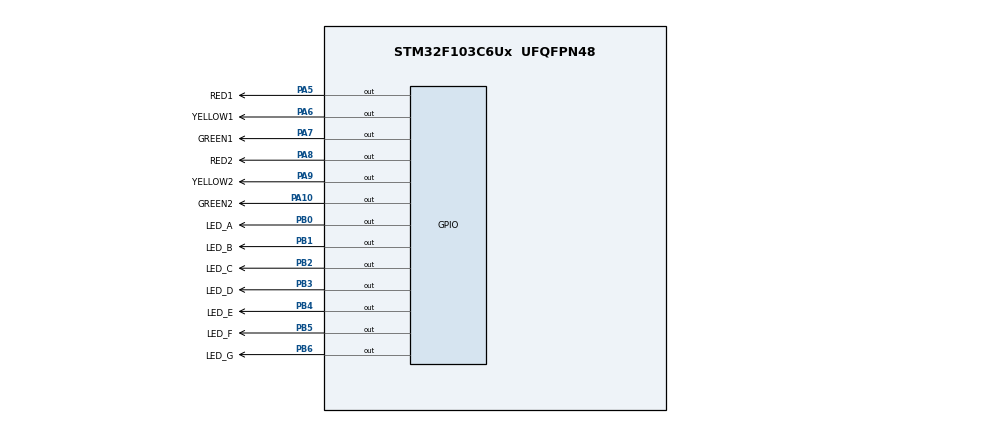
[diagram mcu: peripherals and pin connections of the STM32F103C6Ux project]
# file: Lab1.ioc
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Mcu.Family=STM32F1
Mcu.Name=STM32F103C6Ux
Mcu.Package=UFQFPN48
NVIC.PriorityGroup=NVIC_PRIORITYGROUP_4
PA10.GPIO_Label=GREEN2
PA10.Signal=GPIO_Output
PA5.GPIO_Label=RED1
PA5.Signal=GPIO_Output
PA6.GPIO_Label=YELLOW1
PA6.Signal=GPIO_Output
PA7.GPIO_Label=GREEN1
PA7.Signal=GPIO_Output
PA8.GPIO_Label=RED2
PA8.Signal=GPIO_Output
PA9.GPIO_Label=YELLOW2
PA9.Signal=GPIO_Output
PB0.GPIO_Label=LED_A
PB0.Signal=GPIO_Output
PB1.GPIO_Label=LED_B
PB1.Signal=GPIO_Output
PB2.GPIO_Label=LED_C
PB2.Signal=GPIO_Output
PB3.GPIO_Label=LED_D
PB3.Signal=GPIO_Output
PB4.GPIO_Label=LED_E
PB4.Signal=GPIO_Output
PB5.GPIO_Label=LED_F
PB5.Signal=GPIO_Output
PB6.GPIO_Label=LED_G
PB6.Signal=GPIO_Output
ProjectManager.HeapSize=0x200
ProjectManager.StackSize=0x400
ProjectManager.TargetToolchain=STM32CubeIDE
RCC.APB1Freq_Value=8000000
RCC.APB2Freq_Value=8000000
VP_SYS_VS_ND.Mode=No_Debug
board=custom

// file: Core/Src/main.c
/* USER CODE BEGIN Header */
/**
  ******************************************************************************
  * @file           : main.c
  * @brief          : Main program body
  ******************************************************************************
  * @attention
  *
  * <h2><center>&copy; Copyright (c) 2025 STMicroelectronics.
  * All rights reserved.</center></h2>
  *
  * This software component is licensed by ST under BSD 3-Clause license,
  * the "License"; You may not use this file except in compliance with the
  * License. You may obtain a copy of the License at:
  *                        opensource.org/licenses/BSD-3-Clause
  *
  ******************************************************************************
  */
/* USER CODE END Header */
#include "main.h"

/* USER CODE BEGIN PD */
//define ON/OFF
#define ON 			1
#define OFF 		0

//define states
#define RED 		1
#define GREEN		2
#define YELLOW 		3

#define INIT 0
#define RED_GREEN 	1
#define RED_YELLOW 	2
#define GREEN_RED 	3
#define YELLOW_RED  4
/* USER CODE END PD */

void SystemClock_Config(void);
static void MX_GPIO_Init(void);

/* USER CODE BEGIN 0 */
void control_red1(uint8_t state);
void control_yellow1(uint8_t state);
void control_green1(uint8_t state);
void control_red2(uint8_t state);
void control_yellow2(uint8_t state);
void control_green2(uint8_t state);

void _display7SEG(int num);
void display7SEG(int num);
const uint8_t seg_table[10] = {
    0b1000000, // 0
    0b1111001, // 1
    0b0100100, // 2
    0b0110000, // 3
    0b0011001, // 4
    0b0010010, // 5
    0b0000010, // 6
    0b1111000, // 7
    0b0000000, // 8
    0b0010000  // 9
};
/* USER CODE END 0 */

int main(void)
{

  /* MCU Configuration--------------------------------------------------------*/

  /* Reset of all peripherals, Initializes the Flash interface and the Systick. */
  HAL_Init();

  /* Configure the system clock */
  SystemClock_Config();

  /* Initialize all configured peripherals */
  MX_GPIO_Init();

  /* Infinite loop */
  /* USER CODE BEGIN WHILE */
  uint8_t 	state 	= INIT;
  uint8_t 	state2  = 1;
  uint32_t 	counter = 0;
  uint32_t 	tick	= 0;
  while (1)
  {
	  switch (state) {

		  case RED_GREEN:
			  control_red1(ON);  control_yellow1(OFF); control_green1(OFF);
			  control_red2(OFF); control_yellow2(OFF); control_green2(ON);

			  if (counter >= 300) {  // redRED1(3s), greenYELLOW1(3s)
				  state = RED_YELLOW;
				  counter = 0;
			  }
			  break;

		  case RED_YELLOW:
			  control_red1(ON);  control_yellow1(OFF); control_green1(OFF);
			  control_red2(OFF); control_yellow2(ON);  control_green2(OFF);

			  if (counter >= 200) {  // redRED1(2s), yellowYELLOW1(2s)
				  state = GREEN_RED;
				  counter = 0;
			  }
			  break;

		  case GREEN_RED:
			  control_red1(OFF);  control_yellow1(OFF); control_green1(ON);
			  control_red2(ON);   control_yellow2(OFF); control_green2(OFF);

			  if (counter >= 300) {  // greenRED1(3s), redYELLOW1(3s)
				  state = YELLOW_RED;
				  counter = 0;
			  }
			  break;

		  case YELLOW_RED:
			  control_red1(OFF);  control_yellow1(ON);  control_green1(OFF);
			  control_red2(ON);   control_yellow2(OFF); control_green2(OFF);

			  if (counter >= 200) {  // yellowRED1(2s), redYELLOW1(3s)
				  state = RED_GREEN;
				  counter = 0;
			  }
			  break;
		  default:
			  state = RED_GREEN;
			  counter = 0;
			  break;
	  }
	  ++counter;

	  switch (state2) {

	  	  case RED:
	  		  display7SEG(5 - tick/100 % 5); // print 5->1
	  		  if (tick >= 500) {
	  			  state2 = GREEN;
	  			  tick = 0;
	  		  }
	  		  break;

	  	  case GREEN:
			  display7SEG(3 - tick/100 % 3); // print 3->1
			  if (tick >= 300) {
				  state2 = YELLOW;
				  tick = 0;
			  }
			  break;

	  	  case YELLOW:
			  display7SEG(2 - tick/100 % 2); // print 2->1
			  if (tick >= 200) {
				  state2 = RED;
				  tick = 0;
			  }
			  break;
	  	  default:
	  		  break;
	  }
	  ++tick;

	  HAL_Delay(10) ;
    /* USER CODE END WHILE */

  }
}

void SystemClock_Config(void)
{
  RCC_OscInitTypeDef RCC_OscInitStruct = {0};
  RCC_ClkInitTypeDef RCC_ClkInitStruct = {0};

  /** Initializes the RCC Oscillators according to the specified parameters
  * in the RCC_OscInitTypeDef structure.
  */
  RCC_OscInitStruct.OscillatorType = RCC_OSCILLATORTYPE_HSI;
  RCC_OscInitStruct.HSIState = RCC_HSI_ON;
  RCC_OscInitStruct.HSICalibrationValue = RCC_HSICALIBRATION_DEFAULT;
  RCC_OscInitStruct.PLL.PLLState = RCC_PLL_NONE;
  if (HAL_RCC_OscConfig(&RCC_OscInitStruct) != HAL_OK)
  {
    Error_Handler();
  }
  /** Initializes the CPU, AHB and APB buses clocks
  */
  RCC_ClkInitStruct.ClockType = RCC_CLOCKTYPE_HCLK|RCC_CLOCKTYPE_SYSCLK
                              |RCC_CLOCKTYPE_PCLK1|RCC_CLOCKTYPE_PCLK2;
  RCC_ClkInitStruct.SYSCLKSource = RCC_SYSCLKSOURCE_HSI;
  RCC_ClkInitStruct.AHBCLKDivider = RCC_SYSCLK_DIV1;
  RCC_ClkInitStruct.APB1CLKDivider = RCC_HCLK_DIV1;
  RCC_ClkInitStruct.APB2CLKDivider = RCC_HCLK_DIV1;

  if (HAL_RCC_ClockConfig(&RCC_ClkInitStruct, FLASH_LATENCY_0) != HAL_OK)
  {
    Error_Handler();
  }
}

static void MX_GPIO_Init(void)
{
  GPIO_InitTypeDef GPIO_InitStruct = {0};

  /* GPIO Ports Clock Enable */
  __HAL_RCC_GPIOA_CLK_ENABLE();
  __HAL_RCC_GPIOB_CLK_ENABLE();

  /*Configure GPIO pin Output Level */
  HAL_GPIO_WritePin(GPIOA, RED1_Pin|YELLOW1_Pin|GREEN1_Pin|RED2_Pin
                          |YELLOW2_Pin|GREEN2_Pin, GPIO_PIN_RESET);

  /*Configure GPIO pin Output Level */
  HAL_GPIO_WritePin(GPIOB, LED_A_Pin|LED_B_Pin|LED_C_Pin|LED_D_Pin
                          |LED_E_Pin|LED_F_Pin|LED_G_Pin, GPIO_PIN_RESET);

  /*Configure GPIO pins : RED1_Pin YELLOW1_Pin GREEN1_Pin RED2_Pin
                           YELLOW2_Pin GREEN2_Pin */
  GPIO_InitStruct.Pin = RED1_Pin|YELLOW1_Pin|GREEN1_Pin|RED2_Pin
                          |YELLOW2_Pin|GREEN2_Pin;
  GPIO_InitStruct.Mode = GPIO_MODE_OUTPUT_PP;
  GPIO_InitStruct.Pull = GPIO_NOPULL;
  GPIO_InitStruct.Speed = GPIO_SPEED_FREQ_LOW;
  HAL_GPIO_Init(GPIOA, &GPIO_InitStruct);

  /*Configure GPIO pins : LED_A_Pin LED_B_Pin LED_C_Pin LED_D_Pin
                           LED_E_Pin LED_F_Pin LED_G_Pin */
  GPIO_InitStruct.Pin = LED_A_Pin|LED_B_Pin|LED_C_Pin|LED_D_Pin
                          |LED_E_Pin|LED_F_Pin|LED_G_Pin;
  GPIO_InitStruct.Mode = GPIO_MODE_OUTPUT_PP;
  GPIO_InitStruct.Pull = GPIO_NOPULL;
  GPIO_InitStruct.Speed = GPIO_SPEED_FREQ_LOW;
  HAL_GPIO_Init(GPIOB, &GPIO_InitStruct);

}

/* USER CODE BEGIN 4 */
void control_red1(uint8_t state) {
	HAL_GPIO_WritePin(RED1_GPIO_Port, RED1_Pin, state);
}
void control_yellow1(uint8_t state) {
	HAL_GPIO_WritePin(YELLOW1_GPIO_Port, YELLOW1_Pin, state);
}
void control_green1(uint8_t state) {
	HAL_GPIO_WritePin(GREEN1_GPIO_Port, GREEN1_Pin, state);
}
void control_red2(uint8_t state) {
	HAL_GPIO_WritePin(RED2_GPIO_Port, RED2_Pin, state);
}
void control_yellow2(uint8_t state) {
	HAL_GPIO_WritePin(YELLOW2_GPIO_Port, YELLOW2_Pin, state);
}
void control_green2(uint8_t state) {
	HAL_GPIO_WritePin(GREEN2_GPIO_Port, GREEN2_Pin, state);
}

void display7SEG(int num) {
    if (num < 0 || num > 9) return;
    uint8_t pattern = seg_table[num];
    HAL_GPIO_WritePin(LED_A_GPIO_Port, LED_A_Pin, pattern & 0x01);
    HAL_GPIO_WritePin(LED_B_GPIO_Port, LED_B_Pin, (pattern >> 1) & 0x01);
    HAL_GPIO_WritePin(LED_C_GPIO_Port, LED_C_Pin, (pattern >> 2) & 0x01);
    HAL_GPIO_WritePin(LED_D_GPIO_Port, LED_D_Pin, (pattern >> 3) & 0x01);
    HAL_GPIO_WritePin(LED_E_GPIO_Port, LED_E_Pin, (pattern >> 4) & 0x01);
    HAL_GPIO_WritePin(LED_F_GPIO_Port, LED_F_Pin, (pattern >> 5) & 0x01);
    HAL_GPIO_WritePin(LED_G_GPIO_Port, LED_G_Pin, (pattern >> 6) & 0x01);
}
void _display7SEG(int num) {
	display7SEG(9-num);
}
/* USER CODE END 4 */

void Error_Handler(void)
{
  __disable_irq();
  while (1)
  {
  }
}

/************************ (C) COPYRIGHT STMicroelectronics *****END OF FILE****/
